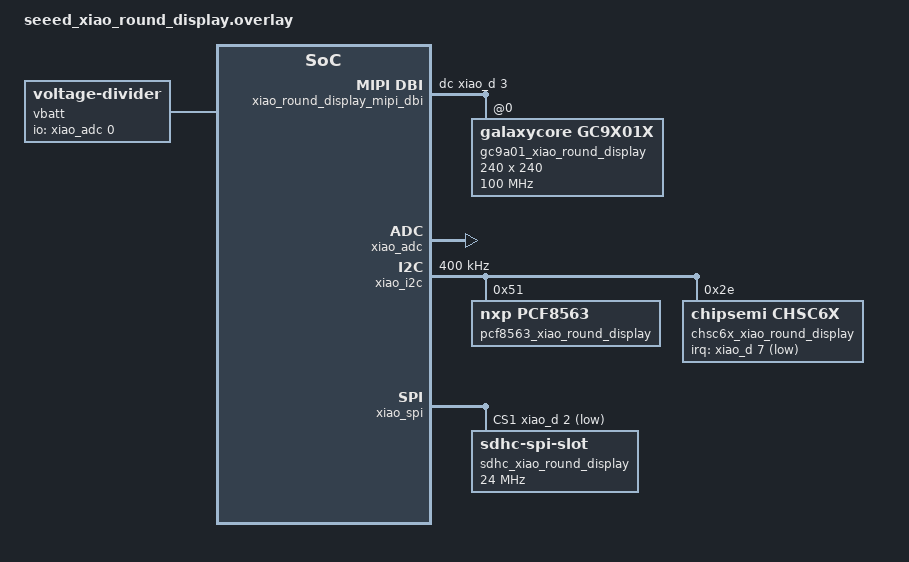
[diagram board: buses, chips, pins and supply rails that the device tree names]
/*
 * Copyright (c) 2024, Nicolas Goualard <nicolas.goualard@sfr.fr>
 *
 * SPDX-License-Identifier: Apache-2.0
 */

#include <freq.h>
#include <zephyr/dt-bindings/display/panel.h>

/ {
	chosen {
		zephyr,display = &gc9a01_xiao_round_display;
	};

	vbatt {
		compatible = "voltage-divider";
		io-channels = <&xiao_adc 0>;
		output-ohms = <470000>;
		full-ohms = <940000>;
	};

	lvgl_pointer {
		compatible = "zephyr,lvgl-pointer-input";
		input = <&chsc6x_xiao_round_display>;
	};

	aliases {
		rtc = &pcf8563_xiao_round_display;
	};

	xiao_round_display_mipi_dbi {
		compatible = "zephyr,mipi-dbi-spi";
		spi-dev = <&xiao_spi>;
		dc-gpios = <&xiao_d 3 GPIO_ACTIVE_HIGH>;
		write-only;
		#address-cells = <1>;
		#size-cells = <0>;

		gc9a01_xiao_round_display: gc9a01@0 {
			status = "okay";
			compatible = "galaxycore,gc9x01x";
			reg = <0>;
			mipi-max-frequency = <DT_FREQ_M(100)>;
			pixel-format = <PANEL_PIXEL_FORMAT_RGB_565>;
			width = <240>;
			height = <240>;
			display-inversion;
		};
	};
};

&xiao_adc {
	status = "okay";
};

/*
 * xiao_serial uses pins D6 and D7 of the Xiao, which are used respectively to
 * control the screen backlight and as touch controller interrupt.
 */
&xiao_serial {
	status = "disabled";
};

&xiao_i2c {
	clock-frequency = < I2C_BITRATE_FAST >;

	pcf8563_xiao_round_display: pcf8563@51 {
		status = "okay";
		compatible = "nxp,pcf8563";
		reg = <0x51>;
	};

	chsc6x_xiao_round_display: chsc6x@2e {
		status = "okay";
		compatible = "chipsemi,chsc6x";
		reg = <0x2e>;
		irq-gpios = <&xiao_d 7 GPIO_ACTIVE_LOW>;
	};
};

&xiao_spi {
	status = "okay";
	cs-gpios = <&xiao_d 1 GPIO_ACTIVE_LOW>, <&xiao_d 2 GPIO_ACTIVE_LOW>;

	sdhc_xiao_round_display: sdhc@1 {
		compatible = "zephyr,sdhc-spi-slot";
		reg = <1>;
		status = "okay";
		mmc {
			compatible = "zephyr,sdmmc-disk";
			status = "okay";
		};
		spi-max-frequency = <DT_FREQ_M(24)>;
	};
};
